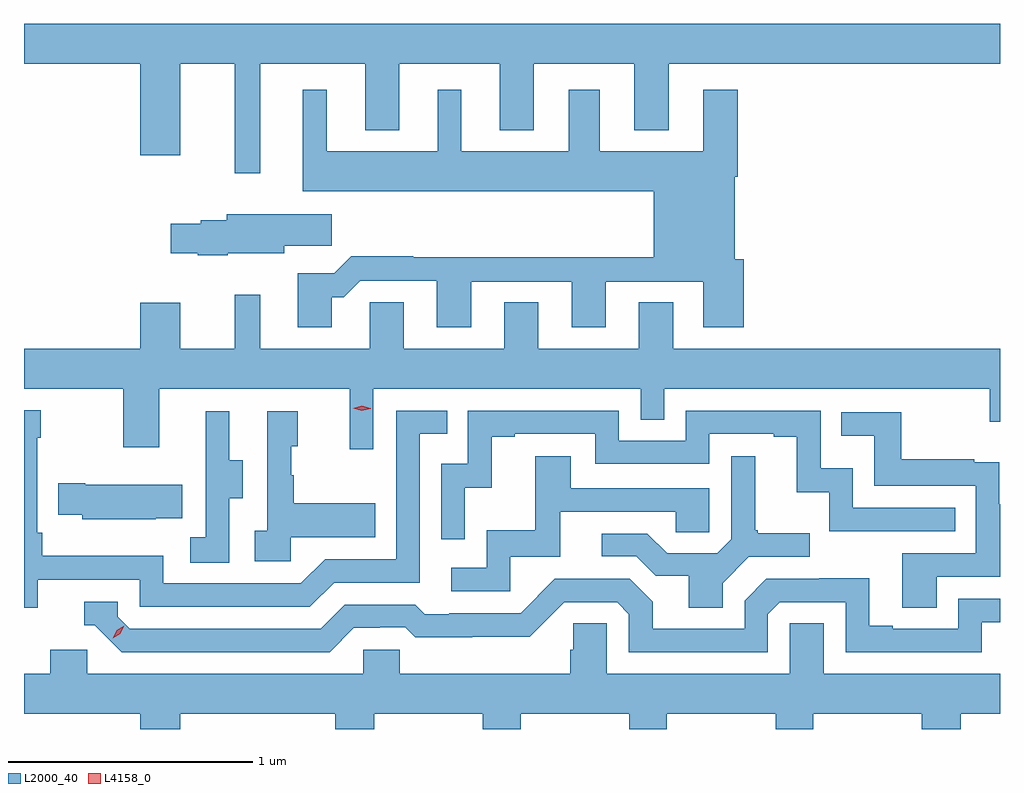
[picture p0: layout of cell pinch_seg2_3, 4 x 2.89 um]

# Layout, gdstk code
import gdstk
lib = gdstk.Library(unit=1e-6, precision=1e-09)
def P(c, l, *ps):  # polygons
    for p in ps: c.add(gdstk.Polygon(p, *l))
L2000_40 = (2000, 40)
L4158_0 = (4158, 0)

pinch_seg2_3 = lib.new_cell('pinch_seg2_3')
P(pinch_seg2_3, L2000_40, [(1136.527,663.62),(1136.957,663.62),(1136.957,663.347),(1137.097,663.347),(1137.097,663.62),(1137.509,663.62),(1137.509,663.347),(1137.649,663.347),(1137.649,663.62),(1138.061,663.62),(1138.061,663.347),(1138.201,663.347),(1138.201,663.62),(1139.559,663.62),(1139.559,663.784),(1135.559,663.784),(1135.559,663.62),(1136.036,663.62),(1136.036,663.246),(1136.2,663.246),(1136.2,663.62),(1136.423,663.62),(1136.423,663.171),(1136.527,663.171)],
  [(1136.821,662.663),(1136.87,662.663),(1136.937,662.73),(1137.251,662.73),(1137.251,662.541),(1137.391,662.541),(1137.391,662.727),(1137.803,662.727),(1137.803,662.541),(1137.943,662.541),(1137.943,662.727),(1138.343,662.727),(1138.343,662.541),(1138.508,662.541),(1138.508,662.82),(1138.471,662.82),(1138.471,663.158),(1138.484,663.158),(1138.484,663.514),(1138.343,663.514),(1138.343,663.262),(1137.919,663.262),(1137.919,663.514),(1137.791,663.514),(1137.791,663.262),(1137.352,663.262),(1137.352,663.514),(1137.254,663.514),(1137.254,663.262),(1136.8,663.262),(1136.8,663.514),(1136.702,663.514),(1136.702,663.098),(1138.139,663.098),(1138.139,662.828),(1137.155,662.828),(1137.155,662.831),(1136.9,662.831),(1136.83,662.761),(1136.681,662.761),(1136.681,662.541),(1136.821,662.541)],
  [(1136.394,662.843),(1136.626,662.843),(1136.626,662.875),(1136.821,662.875),(1136.821,663.004),(1136.39,663.004),(1136.39,662.978),(1136.283,662.978),(1136.283,662.965),(1136.16,662.965),(1136.16,662.843),(1136.272,662.843),(1136.272,662.836),(1136.394,662.836)],
  [(1136.991,662.288),(1138.086,662.288),(1138.086,662.161),(1138.182,662.161),(1138.182,662.288),(1139.518,662.288),(1139.518,662.153),(1139.559,662.153),(1139.559,662.452),(1138.219,662.452),(1138.219,662.642),(1138.079,662.642),(1138.079,662.452),(1137.667,662.452),(1137.667,662.642),(1137.527,662.642),(1137.527,662.452),(1137.115,662.452),(1137.115,662.642),(1136.976,662.642),(1136.976,662.452),(1136.527,662.452),(1136.527,662.674),(1136.423,662.674),(1136.423,662.452),(1136.2,662.452),(1136.2,662.641),(1136.036,662.641),(1136.036,662.452),(1135.559,662.452),(1135.559,662.288),(1135.966,662.288),(1135.966,662.049),(1136.113,662.049),(1136.113,662.288),(1136.894,662.288),(1136.894,662.04),(1136.991,662.04)],
  [(1135.616,661.506),(1136.034,661.506),(1136.034,661.395),(1136.731,661.395),(1136.83,661.494),(1137.18,661.494),(1137.18,662.103),(1137.293,662.103),(1137.293,662.199),(1137.084,662.199),(1137.084,661.59),(1136.793,661.59),(1136.694,661.491),(1136.13,661.491),(1136.13,661.603),(1135.634,661.603),(1135.634,661.699),(1135.614,661.699),(1135.614,662.087),(1135.627,662.087),(1135.627,662.2),(1135.559,662.2),(1135.559,661.39),(1135.616,661.39)],
  [(1137.366,661.883),(1137.476,661.883),(1137.476,662.091),(1137.571,662.091),(1137.571,662.103),(1137.9,662.103),(1137.9,661.98),(1138.368,661.98),(1138.368,662.103),(1138.631,662.103),(1138.631,662.091),(1138.727,662.091),(1138.727,661.865),(1138.86,661.865),(1138.86,661.704),(1139.375,661.704),(1139.375,661.8),(1138.956,661.8),(1138.956,661.963),(1138.824,661.963),(1138.824,662.199),(1138.272,662.199),(1138.272,662.076),(1137.996,662.076),(1137.996,662.199),(1137.378,662.199),(1137.378,661.98),(1137.27,661.98),(1137.27,661.671),(1137.366,661.671)],
  [(1136.652,661.679),(1136.999,661.679),(1136.999,661.819),(1136.665,661.819),(1136.665,661.934),(1136.655,661.934),(1136.655,662.052),(1136.68,662.052),(1136.68,662.197),(1136.556,662.197),(1136.556,661.706),(1136.505,661.706),(1136.505,661.581),(1136.652,661.581)],
  [(1136.4,661.84),(1136.455,661.84),(1136.455,661.995),(1136.401,661.995),(1136.401,662.197),(1136.303,662.197),(1136.303,661.983),(1136.304,661.983),(1136.304,661.679),(1136.241,661.679),(1136.241,661.576),(1136.4,661.576)],
  [(1139.299,661.518),(1139.559,661.518),(1139.559,661.815),(1139.556,661.815),(1139.556,661.987),(1139.453,661.987),(1139.453,661.999),(1139.155,661.999),(1139.155,662.193),(1138.909,662.193),(1138.909,662.096),(1139.044,662.096),(1139.044,661.89),(1139.46,661.89),(1139.46,661.614),(1139.159,661.614),(1139.159,661.39),(1139.299,661.39)],
  [(1137.552,661.599),(1137.757,661.599),(1137.757,661.785),(1138.231,661.785),(1138.231,661.701),(1138.368,661.701),(1138.368,661.881),(1137.799,661.881),(1137.799,662.011),(1137.655,662.011),(1137.655,661.708),(1137.456,661.708),(1137.456,661.554),(1137.309,661.554),(1137.309,661.458),(1137.552,661.458)],
  [(1138.423,661.492),(1138.53,661.599),(1138.78,661.599),(1138.78,661.696),(1138.567,661.696),(1138.567,661.708),(1138.555,661.708),(1138.555,662.011),(1138.458,662.011),(1138.458,661.671),(1138.401,661.614),(1138.195,661.614),(1138.114,661.695),(1137.927,661.695),(1137.927,661.602),(1138.068,661.602),(1138.148,661.522),(1138.283,661.522),(1138.283,661.39),(1138.423,661.39)],
  [(1136.099,661.757),(1136.207,661.757),(1136.207,661.894),(1135.81,661.894),(1135.81,661.902),(1135.699,661.902),(1135.699,661.772),(1135.797,661.772),(1135.797,661.754),(1136.099,661.754)],
  [(1136.911,661.308),(1137.018,661.308),(1137.018,661.311),(1137.121,661.311),(1137.163,661.269),(1137.396,661.269),(1137.396,661.271),(1137.632,661.271),(1137.774,661.413),(1137.99,661.413),(1138.038,661.365),(1138.038,661.209),(1138.608,661.209),(1138.608,661.365),(1138.656,661.413),(1138.926,661.413),(1138.926,661.209),(1139.484,661.209),(1139.484,661.332),(1139.559,661.332),(1139.559,661.428),(1139.388,661.428),(1139.388,661.305),(1139.119,661.305),(1139.119,661.318),(1139.023,661.318),(1139.023,661.511),(1138.818,661.511),(1138.818,661.509),(1138.602,661.509),(1138.512,661.419),(1138.512,661.305),(1138.135,661.305),(1138.135,661.415),(1138.041,661.509),(1137.735,661.509),(1137.594,661.368),(1137.301,661.368),(1137.301,661.365),(1137.202,661.365),(1137.163,661.404),(1136.874,661.404),(1136.775,661.305),(1135.992,661.305),(1135.944,661.353),(1135.944,661.416),(1135.805,661.416),(1135.805,661.32),(1135.848,661.32),(1135.959,661.209),(1136.812,661.209)],
  [(1136.2,660.956),(1136.834,660.956),(1136.834,660.893),(1136.994,660.893),(1136.994,660.956),(1137.439,660.956),(1137.439,660.893),(1137.594,660.893),(1137.594,660.956),(1138.039,660.956),(1138.039,660.893),(1138.194,660.893),(1138.194,660.956),(1138.639,660.956),(1138.639,660.893),(1138.794,660.893),(1138.794,660.956),(1139.239,660.956),(1139.239,660.893),(1139.399,660.893),(1139.399,660.956),(1139.559,660.956),(1139.559,661.12),(1138.837,661.12),(1138.837,661.328),(1138.698,661.328),(1138.698,661.12),(1137.948,661.12),(1137.948,661.328),(1137.811,661.328),(1137.811,661.218),(1137.797,661.218),(1137.797,661.12),(1137.099,661.12),(1137.099,661.218),(1136.949,661.218),(1136.949,661.12),(1135.818,661.12),(1135.818,661.218),(1135.667,661.218),(1135.667,661.12),(1135.559,661.12),(1135.559,660.956),(1136.036,660.956),(1136.036,660.893),(1136.2,660.893)])
P(pinch_seg2_3, L4158_0, [(1136.944,662.198),(1136.908,662.208),(1136.908,662.208),(1136.908,662.208),(1136.944,662.218),(1136.98,662.208),(1136.98,662.207),(1136.98,662.207)],
  [(1135.922,661.266),(1135.922,661.266),(1135.939,661.298),(1135.97,661.317),(1135.97,661.317),(1135.97,661.317),(1135.954,661.285),(1135.923,661.266)])

lib.write_gds('pinch_seg2_3.gds')
